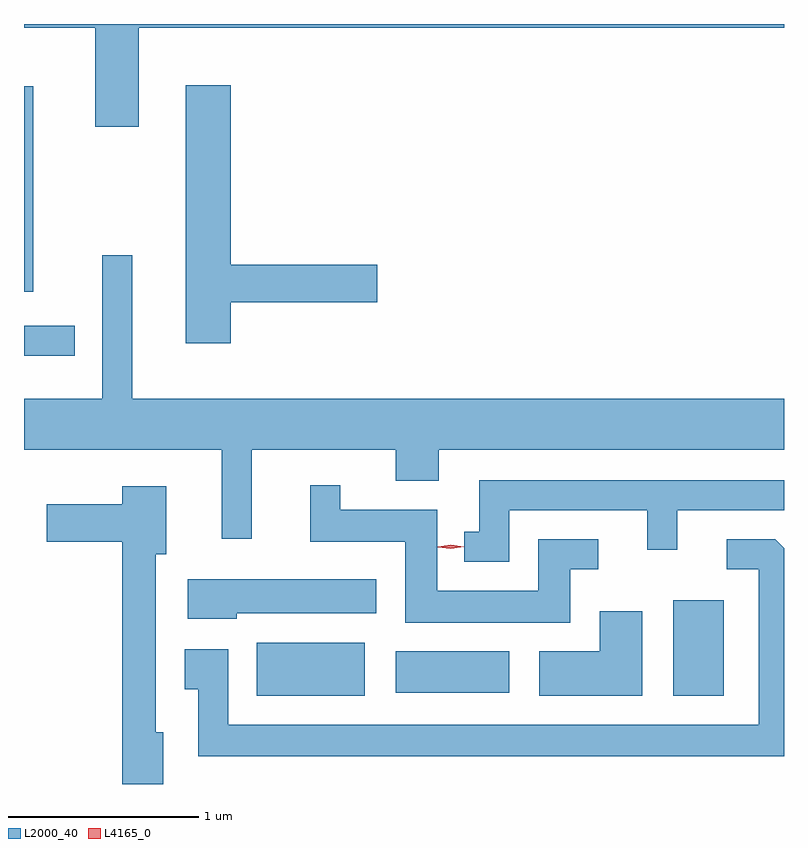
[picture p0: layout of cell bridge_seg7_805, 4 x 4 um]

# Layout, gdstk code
import gdstk
lib = gdstk.Library(unit=1e-6, precision=1e-09)
def R(c, l, rs):  # rectangles x0, y0, x1, y1
    for r in rs: c.add(gdstk.rectangle(r[:2], r[2:], *l))
def P(c, l, *ps):  # polygons
    for p in ps: c.add(gdstk.Polygon(p, *l))
L2000_40 = (2000, 40)
L4165_0 = (4165, 0)

bridge_seg7_805 = lib.new_cell('bridge_seg7_805')
R(bridge_seg7_805, L2000_40, [(404.331,1752.981,404.899,1753.259), (406.521,1752.981,406.789,1753.484), (405.061,1752.996,405.659,1753.214), (403.105,1754.771,403.373,1754.929), (403.105,1755.108,403.154,1756.188)])
P(bridge_seg7_805, L2000_40, [(403.709,1756.496),(407.105,1756.496),(407.105,1756.516),(403.105,1756.516),(403.105,1756.496),(403.481,1756.496),(403.481,1755.976),(403.709,1755.976)],
  [(404.194,1755.051),(404.964,1755.051),(404.964,1755.249),(404.194,1755.249),(404.194,1756.194),(403.956,1756.194),(403.956,1754.836),(404.194,1754.836)],
  [(404.304,1754.276),(405.061,1754.276),(405.061,1754.111),(405.289,1754.111),(405.289,1754.276),(407.105,1754.276),(407.105,1754.544),(403.674,1754.544),(403.674,1755.298),(403.516,1755.298),(403.516,1754.544),(403.105,1754.544),(403.105,1754.276),(404.146,1754.276),(404.146,1753.808),(404.304,1753.808)],
  [(405.659,1753.956),(406.386,1753.956),(406.386,1753.748),(406.544,1753.748),(406.544,1753.956),(407.105,1753.956),(407.105,1754.114),(405.501,1754.114),(405.501,1753.844),(405.423,1753.844),(405.423,1753.686),(405.659,1753.686)],
  [(405.979,1753.646),(406.128,1753.646),(406.128,1753.804),(405.811,1753.804),(405.811,1753.534),(405.279,1753.534),(405.279,1753.959),(404.769,1753.959),(404.769,1754.088),(404.611,1754.088),(404.611,1753.791),(405.111,1753.791),(405.111,1753.366),(405.979,1753.366)],
  [(403.839,1752.789),(403.799,1752.789),(403.799,1753.726),(403.854,1753.726),(403.854,1754.084),(403.621,1754.084),(403.621,1753.989),(403.226,1753.989),(403.226,1753.791),(403.621,1753.791),(403.621,1752.516),(403.839,1752.516)],
  [(407.105,1753.758),(407.059,1753.804),(406.803,1753.804),(406.803,1753.646),(406.971,1753.646),(406.971,1752.829),(404.179,1752.829),(404.179,1753.224),(403.951,1753.224),(403.951,1753.016),(404.021,1753.016),(404.021,1752.661),(407.105,1752.661)],
  [(404.224,1753.416),(404.959,1753.416),(404.959,1753.594),(403.966,1753.594),(403.966,1753.386),(404.224,1753.386)],
  [(406.359,1753.424),(406.136,1753.424),(406.136,1753.214),(405.816,1753.214),(405.816,1752.981),(406.359,1752.981)])
P(bridge_seg7_805, L4165_0, [(405.351,1753.754),(405.282,1753.763),(405.282,1753.764),(405.282,1753.764),(405.351,1753.774),(405.421,1753.765),(405.421,1753.765),(405.421,1753.764)])

lib.write_gds('bridge_seg7_805.gds')
